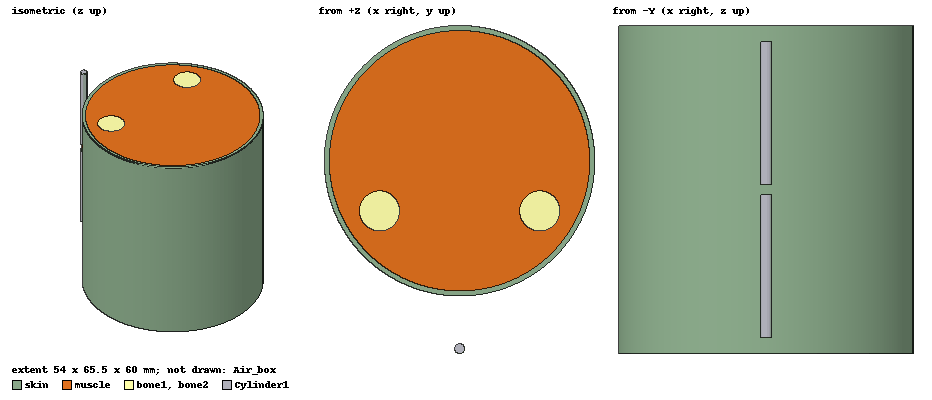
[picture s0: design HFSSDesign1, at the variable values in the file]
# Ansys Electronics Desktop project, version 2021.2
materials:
  pec: conductivity=1e+30
  vacuum: permittivity=1
  wrist_bone: permittivity=11.4 conductivity=0.39 mass_density=1850
  wrist_muscle: permittivity=54.4 conductivity=1.74 mass_density=1040
  wrist_skin: permittivity=38 conductivity=1.46 mass_density=1100

design HFSSDesign1 (HFSS, DrivenModal, model units mm)
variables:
  dipole_l = 54.15mm
  air_t = dipole_l*2
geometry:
  Cylinder1 [pec] = cylinder(axis=Z, base_centre=(0mm, 0mm, -dipole_l/2), radius=1mm, height=dipole_l)
  Cylinder2 = cylinder(axis=Z, base_centre=(0mm, 0mm, -1mm), radius=1mm, height=2mm)
  Cylinder1.subtract(Cylinder2)
  Rectangle1 = rectangle(corner=(0mm, -1mm, -1mm), y_size=2mm, z_size=2mm)
  Air_box [vacuum] = box(corner=(-air_t, -air_t, -dipole_l/2-air_t), size=(2*air_t, 2*air_t, dipole_l+2*air_t))
  muscle [wrist_muscle] = cylinder(axis=Z, base_centre=(0mm, (54/2+0.5+10) mm, (-60/2) mm), radius=(52/2) mm, height=60mm)
  bone1 [wrist_bone] = cylinder(axis=Z, base_centre=(-16mm, (54/2+0.5) mm, (-60/2) mm), radius=(8/2) mm, height=60mm)
  skin [wrist_skin] = cylinder(axis=Z, base_centre=(0mm, (54/2+0.5+10) mm, (-60/2) mm), radius=(54/2) mm, height=60mm)
  bone2 [wrist_bone] = cylinder(axis=Z, base_centre=(16mm, (54/2+0.5) mm, (-60/2) mm), radius=(8/2) mm, height=60mm)
  muscle_1 = muscle.copy()
  skin.subtract(muscle_1)
  bone1_1 = bone1.copy()
  bone2_1 = bone2.copy()
  muscle.subtract(bone1_1, bone2_1)
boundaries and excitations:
  Rad1: Radiation Objects=Air_box
  1: Lumped Port Faces=Rectangle1.face Modes{Mode1{IntLine{middle of Rectangle1.edge(z opposite corner) -> middle of Rectangle1.edge(z at corner)} CharImp=Zpi RenormImp=50ohm}} Impedance=50ohm
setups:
  Setup1: HfssDriven Frequency=2.45GHz MaxDeltaS=0.02 MaximumPasses=6 MinimumPasses=1 MinimumConvergedPasses=1 PercentRefinement=30 BasisOrder=1 PortAccuracy=2
    sweep Sweep: 2GHz to 3GHz, 51 points; Type=Interpolating InterpTolerance=0.5 InterpMaxSolns=250 InterpUsePortImped=false PassivityErrorTolerance=0.0001
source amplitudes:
  1:1: 1W 0deg
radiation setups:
  Infinite Sphere1: Infinite Sphere Theta=0deg..180deg step 2deg Phi=-180deg..180deg step 2deg
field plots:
  Local_SAR1: SAR Field in skin on Setup1 : LastAdaptive at Freq=2.45GHz Phase=0deg
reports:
  S Parameter Plot 1: dB(S(1,1)) vs Freq on Setup1 : Sweep; dB(S(1,1)) vs Freq; markers MX1 at x=2.4464068e+09
  Gain Plot 1: dB(GainTotal) vs Phi, Theta on Setup1 : LastAdaptive, Infinite Sphere1 [Freq=2.45GHz]
